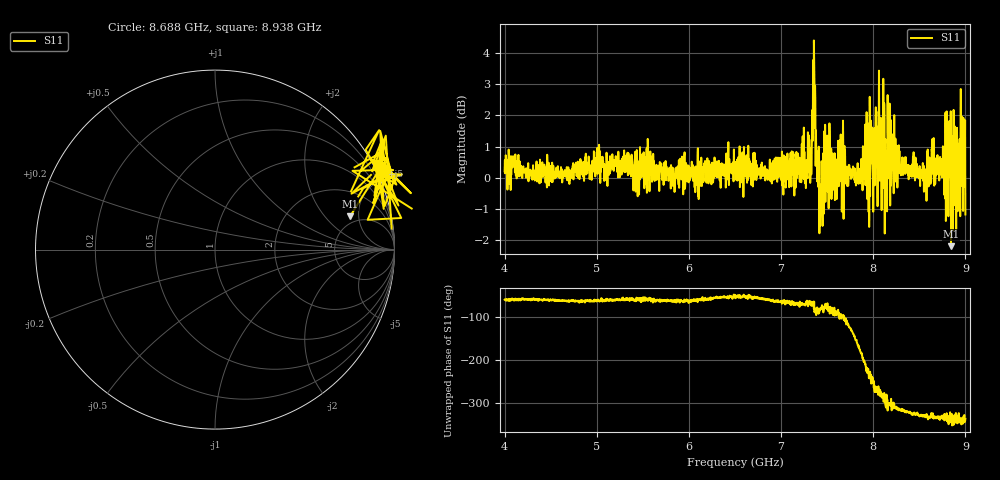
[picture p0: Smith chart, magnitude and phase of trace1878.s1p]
! Created with skrf 1.8.0 (http://scikit-rf.org).
# Hz S RI R 50.0
!freq ReS11 ImS11
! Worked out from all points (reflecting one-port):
!   1601 points, 4 GHz to 9 GHz, reference 50 ohm
!   lowest |S11| = -2.2 dB at 8.844 GHz (marker M1), VSWR 7.91, Z = 209 + j194 ohm
!   phase of S11 starts at -59 deg and turns -279 deg over the sweep
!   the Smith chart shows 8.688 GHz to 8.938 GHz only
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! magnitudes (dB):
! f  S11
! 4 GHz  0.2
! 4.625 GHz  -0.2
! 5.25 GHz  0.0
! 5.875 GHz  0.0
! 6.5 GHz  0.5
! 7.125 GHz  0.3
! 7.294 GHz  0.7
! 7.319 GHz  0.0
! 7.347 GHz  3.4
! 7.359 GHz  3.8
! 7.372 GHz  2.5
! 7.4 GHz  0.0
! 7.425 GHz  -0.8
! 7.509 GHz  0.0
! 7.588 GHz  0.1
! 7.666 GHz  1.3
! 7.75 GHz  0.1
! 7.859 GHz  0.3
! 8.088 GHz  0.4
! 8.125 GHz  -1.8
! 8.178 GHz  2.4
! 8.209 GHz  0.7
! 8.375 GHz  0.4
! 8.556 GHz  -0.4
! 8.634 GHz  0.9
! 8.844 GHz  -2.2
! 8.972 GHz  0.1
! 9 GHz  -1.2
